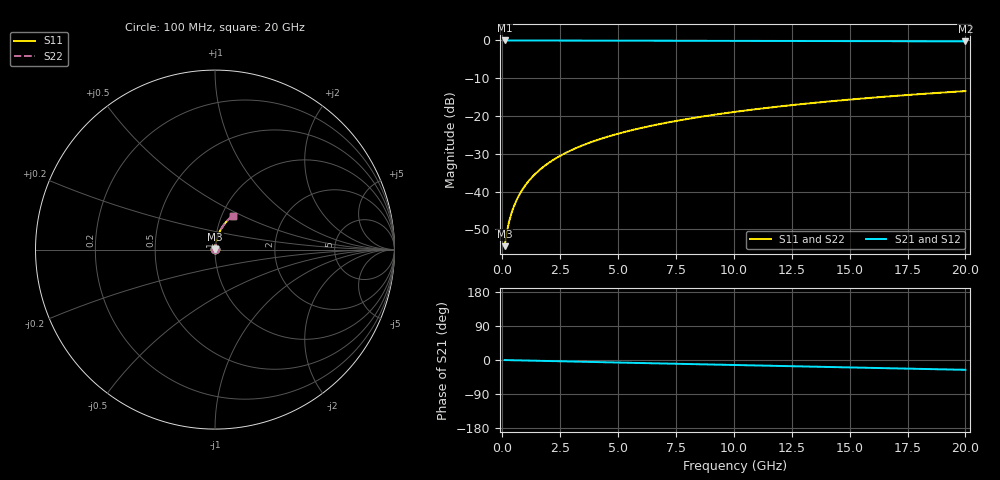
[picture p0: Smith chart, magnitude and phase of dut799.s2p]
! Touchstone file exported from HFSS 2026.1.0
!  File:  C:/ffzhzh/LocalFiles/Ansys_Project_Files/temp_train_TMRDL_799_1783156087_55132.aedt
!  Generated:  05:09:24 PM Jul  4, 2026
!  Design:  TMRDL
!  Project:  temp_train_TMRDL_799_1783156087_55132
! Variables:
!  h_bsmrdl = 2um
!  h_ox = 20um
!  h_rdl = 5um
!  h_sub = 80um
!  h_tmrdl = 4.55um
!  h_tsv = 80um
!  h_via = 3um
!  l_bsmrdl = 300um
!  l_sub = 776.07um
!  l_tmrdl = 376.07um
!  m_sub = 200um
!  pitch = 47.2um
!  r_tsv = 6um
!  s_tmrdl = 10um
!  w_bsmrdl = 18um
!  w_sub = 500um
!  w_tmrdl = 25.59um
!  x_tsv_center1 = 388.865um
!  x_tsv_center2 = 706.865um
!  x_tsv_center3 = 1108.525um
!  x_tsv_center4 = 1426.525um
!  x_tsv_center5 = 1828.185um
!  x_tsv_center6 = 2146.185um
# GHz S MA R 50.000000
! Terminal data exported
! Port[1] = TM_RDL1_1_T1
! Port[2] = TM_RDL1_1_T2
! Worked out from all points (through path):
!   200 points, 100 MHz to 20 GHz, reference 50 ohm
!   highest |S21| = -0.01 dB at 100 MHz (marker M1); lowest = -0.3 dB at 20 GHz (marker M2)
!   group delay of S21, straight-line fit = 3.59 ps
!   lowest |S11| = -54.4 dB at 100 MHz (marker M3), VSWR 1.00, Z = 50.1 + j0.134 ohm
!   |S11| at or under -10 dB: start of sweep to end of sweep
!   |S22| runs from -54.4 to -13.4 dB; largest |S21 - S12| = 2.7e-15
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0.1  0.001896 44.7  0.9987 -0.1  0.9987 -0.1  0.001896 44.7
! Gamma 0 0 0 0
! Port Impedance 50 0 50 0
0.2  0.002967 60.4  0.9985 -0.3  0.9985 -0.3  0.002967 60.4
0.3  0.004082 67.5  0.9985 -0.4  0.9985 -0.4  0.004082 67.5
0.4  0.005208 71.6  0.9984 -0.6  0.9984 -0.6  0.005208 71.6
0.5  0.006348 74.4  0.9984 -0.7  0.9984 -0.7  0.006348 74.4
0.6  0.007498 76.4  0.9983 -0.8  0.9983 -0.8  0.007498 76.4
0.8  0.009822 78.8  0.9982 -1.1  0.9982 -1.1  0.009822 78.8
1.1  0.01334 80.8  0.9981 -1.5  0.9981 -1.5  0.01334 80.8
1.5  0.01804 81.9  0.9979 -2.0  0.9979 -2.0  0.01804 81.9
1.8  0.02157 82.2  0.9978 -2.4  0.9978 -2.4  0.02157 82.2
2.1  0.02508 82.3  0.9976 -2.8  0.9976 -2.8  0.02508 82.3
2.7  0.03207 82.1  0.9971 -3.6  0.9971 -3.6  0.03207 82.1
3.5  0.04129 81.5  0.9964 -4.7  0.9964 -4.7  0.04129 81.5
4.2  0.04927 80.8  0.9958 -5.6  0.9958 -5.6  0.04927 80.8
5  0.0583 80.0  0.9949 -6.7  0.9949 -6.7  0.0583 80.0
5.9  0.06835 79.0  0.9939 -7.9  0.9939 -7.9  0.06835 79.0
6.8  0.0783 77.9  0.9928 -9.1  0.9928 -9.1  0.0783 77.9
8.3  0.09468 76.2  0.9909 -11.0  0.9909 -11.0  0.09467 76.2
10.1  0.114 74.1  0.9884 -13.3  0.9884 -13.3  0.114 74.1
13.4  0.1486 70.1  0.983 -17.6  0.983 -17.6  0.1486 70.1
16.7  0.1818 66.2  0.9768 -21.8  0.9768 -21.8  0.1818 66.2
20  0.2136 62.2  0.9699 -25.9  0.9699 -25.9  0.2136 62.2
